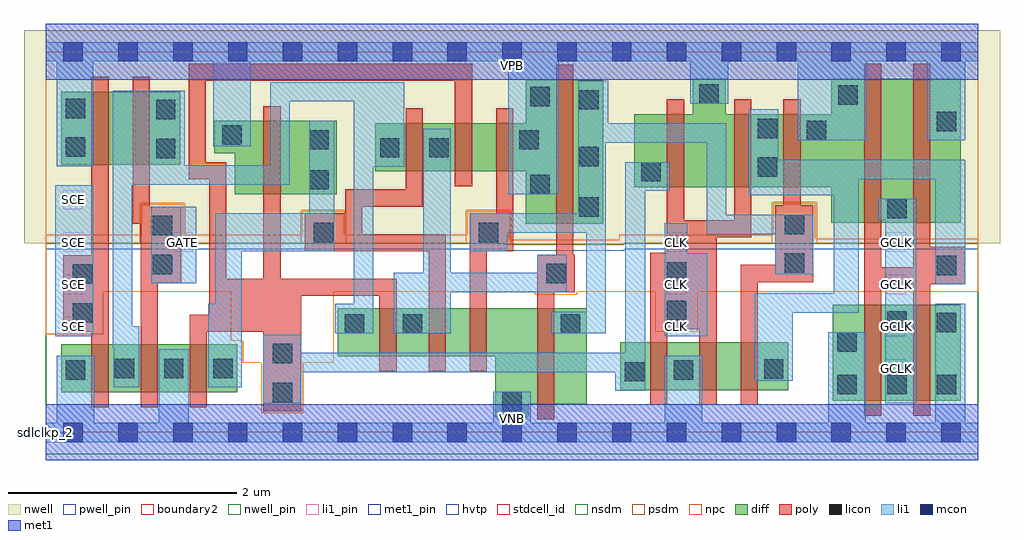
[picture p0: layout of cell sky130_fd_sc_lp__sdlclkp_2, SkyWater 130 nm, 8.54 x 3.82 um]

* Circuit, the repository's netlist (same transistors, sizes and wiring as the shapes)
* Copyright 2020 The SkyWater PDK Authors
*
* Licensed under the Apache License, Version 2.0 (the "License");
* you may not use this file except in compliance with the License.
* You may obtain a copy of the License at
*
*     https://www.apache.org/licenses/LICENSE-2.0
*
* Unless required by applicable law or agreed to in writing, software
* distributed under the License is distributed on an "AS IS" BASIS,
* WITHOUT WARRANTIES OR CONDITIONS OF ANY KIND, either express or implied.
* See the License for the specific language governing permissions and
* limitations under the License.
*
* SPDX-License-Identifier: Apache-2.0

.SUBCKT sky130_fd_sc_lp__sdlclkp_2 CLK GATE SCE VGND VNB VPB VPWR GCLK
*.PININFO CLK:I GATE:I SCE:I VGND:I VNB:I VPB:I VPWR:I GCLK:O
MI662 net88 m1 VPWR VPB sky130_fd_pr__pfet_01v8_hvt m=1 w=0.42U l=0.15U mult=1
+ sa=0.265 sb=0.265 sd=0.28 area=0.063 perim=1.14
MI664 M0 clkpos net88 VPB sky130_fd_pr__pfet_01v8_hvt m=1 w=0.42U l=0.15U mult=1
+ sa=0.265 sb=0.265 sd=0.28 area=0.063 perim=1.14
MI659 net76 CLK VPWR VPB sky130_fd_pr__pfet_01v8_hvt m=1 w=0.64U l=0.15U mult=1
+ sa=0.265 sb=0.265 sd=0.28 area=0.063 perim=1.14
MI658 net76 m1 VPWR VPB sky130_fd_pr__pfet_01v8_hvt m=1 w=0.64U l=0.15U mult=1
+ sa=0.265 sb=0.265 sd=0.28 area=0.063 perim=1.14
MI19 m1 M0 VPWR VPB sky130_fd_pr__pfet_01v8_hvt m=1 w=1.26U l=0.15U mult=1 sa=0.265
+ sb=0.265 sd=0.28 area=0.063 perim=1.14
MI22 net68 SCE VPWR VPB sky130_fd_pr__pfet_01v8_hvt m=1 w=0.64U l=0.15U mult=1
+ sa=0.265 sb=0.265 sd=0.28 area=0.063 perim=1.14
MI21 net116 GATE net68 VPB sky130_fd_pr__pfet_01v8_hvt m=1 w=0.64U l=0.15U mult=1
+ sa=0.265 sb=0.265 sd=0.28 area=0.063 perim=1.14
MI47 clkneg clkpos VPWR VPB sky130_fd_pr__pfet_01v8_hvt m=1 w=0.64U l=0.15U mult=1
+ sa=0.265 sb=0.265 sd=0.28 area=0.063 perim=1.14
MI45 clkpos CLK VPWR VPB sky130_fd_pr__pfet_01v8_hvt m=1 w=0.64U l=0.15U mult=1
+ sa=0.265 sb=0.265 sd=0.28 area=0.063 perim=1.14
MI660 GCLK net76 VPWR VPB sky130_fd_pr__pfet_01v8_hvt m=2 w=1.26U l=0.15U mult=1
+ sa=0.265 sb=0.265 sd=0.28 area=0.063 perim=1.14
MI43 net116 clkneg M0 VPB sky130_fd_pr__pfet_01v8_hvt m=1 w=0.42U l=0.15U mult=1
+ sa=0.265 sb=0.265 sd=0.28 area=0.063 perim=1.14
MI42 net116 clkpos M0 VNB sky130_fd_pr__nfet_01v8 m=1 w=0.42U l=0.15U mult=1 sa=0.265
+ sb=0.265 sd=0.28 area=0.063 perim=1.14
MI20 m1 M0 VGND VNB sky130_fd_pr__nfet_01v8 m=1 w=0.84U l=0.15U mult=1 sa=0.265
+ sb=0.265 sd=0.28 area=0.063 perim=1.14
MI655 M0 clkneg net123 VNB sky130_fd_pr__nfet_01v8 m=1 w=0.42U l=0.15U mult=1 sa=0.265
+ sb=0.265 sd=0.28 area=0.063 perim=1.14
MI654 net123 m1 VGND VNB sky130_fd_pr__nfet_01v8 m=1 w=0.42U l=0.15U mult=1 sa=0.265
+ sb=0.265 sd=0.28 area=0.063 perim=1.14
MI24 net116 SCE VGND VNB sky130_fd_pr__nfet_01v8 m=1 w=0.42U l=0.15U mult=1 sa=0.265
+ sb=0.265 sd=0.28 area=0.063 perim=1.14
MI657 net112 CLK VGND VNB sky130_fd_pr__nfet_01v8 m=1 w=0.42U l=0.15U mult=1 sa=0.265
+ sb=0.265 sd=0.28 area=0.063 perim=1.14
MI656 net76 m1 net112 VNB sky130_fd_pr__nfet_01v8 m=1 w=0.42U l=0.15U mult=1 sa=0.265
+ sb=0.265 sd=0.28 area=0.063 perim=1.14
MI23 net116 GATE VGND VNB sky130_fd_pr__nfet_01v8 m=1 w=0.42U l=0.15U mult=1 sa=0.265
+ sb=0.265 sd=0.28 area=0.063 perim=1.14
MI46 clkneg clkpos VGND VNB sky130_fd_pr__nfet_01v8 m=1 w=0.42U l=0.15U mult=1
+ sa=0.265 sb=0.265 sd=0.28 area=0.063 perim=1.14
MI44 clkpos CLK VGND VNB sky130_fd_pr__nfet_01v8 m=1 w=0.42U l=0.15U mult=1 sa=0.265
+ sb=0.265 sd=0.28 area=0.063 perim=1.14
MI653 GCLK net76 VGND VNB sky130_fd_pr__nfet_01v8 m=2 w=0.84U l=0.15U mult=1 sa=0.265
+ sb=0.265 sd=0.28 area=0.063 perim=1.14
.ENDS sky130_fd_sc_lp__sdlclkp_2

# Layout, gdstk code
import gdstk
lib = gdstk.Library(unit=1e-6, precision=1e-09)
def R(c, l, rs):  # rectangles x0, y0, x1, y1
    for r in rs: c.add(gdstk.rectangle(r[:2], r[2:], *l))
def A(c, l, x, y, w, h, nx, ny, dx, dy):  # array of equal rectangles
    R(c, l, [(x+i*dx, y+j*dy, x+i*dx+w, y+j*dy+h) for i in range(nx) for j in range(ny)])
def P(c, l, *ps):  # polygons
    for p in ps: c.add(gdstk.Polygon(p, *l))
nwell_pin = (64, 16)
nwell = (64, 20)
diff = (65, 20)
poly = (66, 20)
licon = (66, 44)
li1_pin = (67, 16)
li1 = (67, 20)
mcon = (67, 44)
met1_pin = (68, 16)
met1 = (68, 20)
hvtp = (78, 44)
stdcell_id = (81, 4)
nsdm = (93, 44)
psdm = (94, 20)
npc = (95, 20)
pwell_pin = (122, 16)
boundary2 = (236, 0)

sky130_fd_sc_lp__sdlclkp = lib.new_cell('sky130_fd_sc_lp__sdlclkp_2')
R(sky130_fd_sc_lp__sdlclkp, nwell_pin, [(0,3.085,8.16,3.33)])
P(sky130_fd_sc_lp__sdlclkp, nwell, [(8.35,3.52),(-0.19,3.52),(-0.19,1.655),(4.02,1.655),(4.02,1.645),(5.06,1.645),(5.06,1.655),(8.35,1.655)])
R(sky130_fd_sc_lp__sdlclkp, diff, [(6.885,0.275,8.005,1.115), (0.135,0.35,1.675,0.77), (5.025,0.37,6.495,0.79), (0.135,2.34,1.175,2.98)])
P(sky130_fd_sc_lp__sdlclkp, diff, [(2.545,2.725),(1.475,2.725),(1.475,2.44),(1.655,2.44),(1.655,2.085),(2.545,2.085)],
  [(4.735,1.085),(2.555,1.085),(2.555,0.665),(3.935,0.665),(3.935,0.135),(4.225,0.135),(4.225,0.245),(4.735,0.245)],
  [(4.88,3.085),(4.2,3.085),(4.2,2.705),(2.885,2.705),(2.885,2.285),(4.2,2.285),(4.2,1.825),(4.88,1.825)],
  [(8.005,3.095),(6.875,3.095),(6.875,2.785),(5.95,2.785),(5.95,3.095),(5.66,3.095),(5.66,2.785),(5.15,2.785),(5.15,2.145),(6.875,2.145),(6.875,1.835),(8.005,1.835)])
P(sky130_fd_sc_lp__sdlclkp, poly, [(0.55,3.11),(0.4,3.11),(0.4,1.55),(0.155,1.55),(0.155,0.88),(0.4,0.88),(0.4,0.22),(0.55,0.22)],
  [(1.185,1.975),(0.91,1.975),(0.91,3.11),(0.76,3.11),(0.76,1.825),(0.83,1.825),(0.83,0.22),(0.98,0.22),(0.98,1.305),(1.185,1.305)],
  [(3.5,1.735),(2.77,1.735),(2.77,1.975),(3.3,1.975),(3.3,2.835),(3.15,2.835),(3.15,2.125),(2.62,2.125),(2.62,1.915),(2.265,1.915),(2.265,1.585),(3.35,1.585),(3.35,0.535),(3.5,0.535)],
  [(3.73,3.225),(1.25,3.225),(1.25,2.215),(1.43,2.215),(1.43,1.03),(1.26,1.03),(1.26,0.22),(1.41,0.22),(1.41,0.88),(1.905,0.88),(1.905,0.185),(2.235,0.185),(2.235,1.195),(2.92,1.195),(2.92,0.535),(3.07,0.535),(3.07,1.345),(2.055,1.345),(2.055,2.855),(1.905,2.855),(1.905,1.345),(1.58,1.345),(1.58,2.365),(1.4,2.365),(1.4,3.075),(3.58,3.075),(3.58,2.155),(3.73,2.155)],
  [(4.09,2.835),(3.94,2.835),(3.94,1.915),(3.71,1.915),(3.71,0.535),(3.86,0.535),(3.86,1.585),(4.09,1.585)],
  [(4.63,1.555),(4.615,1.555),(4.615,3.215),(4.465,3.215),(4.465,1.555),(4.3,1.555),(4.3,0.115),(4.45,0.115),(4.45,1.225),(4.63,1.225)],
  [(6.175,2.915),(6.025,2.915),(6.025,1.855),(5.585,1.855),(5.585,2.915),(5.435,2.915),(5.435,1.57),(5.29,1.57),(5.29,0.24),(5.44,0.24),(5.44,0.9),(5.72,0.9),(5.72,0.24),(5.87,0.24),(5.87,1.705),(6.175,1.705)],
  [(6.715,1.985),(6.605,1.985),(6.605,2.915),(6.455,2.915),(6.455,1.985),(6.385,1.985),(6.385,1.465),(6.08,1.465),(6.08,0.24),(6.23,0.24),(6.23,1.315),(6.715,1.315)],
  [(8.045,1.625),(7.74,1.625),(7.74,3.225),(7.59,3.225),(7.59,1.445),(7.31,1.445),(7.31,3.225),(7.16,3.225),(7.16,0.145),(7.31,0.145),(7.31,1.295),(7.59,1.295),(7.59,0.145),(7.74,0.145),(7.74,1.295),(8.045,1.295)])
A(sky130_fd_sc_lp__sdlclkp, licon, 0.605, 0.475, 0.17, 0.17, 3, 1, 0.43, 0)
R(sky130_fd_sc_lp__sdlclkp, licon, [(3.995,0.185,4.165,0.355), (1.985,0.265,2.155,0.435), (6.925,0.335,7.095,0.505), (7.365,0.335,7.535,0.505), (7.795,0.335,7.965,0.505), (5.065,0.445,5.235,0.615), (0.175,0.46,0.345,0.63), (5.495,0.46,5.665,0.63), (6.285,0.47,6.455,0.64), (1.985,0.605,2.155,0.775), (6.925,0.705,7.095,0.875), (2.615,0.865,2.785,1.035), (3.125,0.865,3.295,1.035), (4.505,0.865,4.675,1.035), (7.795,0.875,7.965,1.045), (7.365,0.89,7.535,1.06), (0.235,0.96,0.405,1.13), (5.435,0.98,5.605,1.15), (0.235,1.3,0.405,1.47), (4.38,1.305,4.55,1.475), (5.435,1.32,5.605,1.49), (7.795,1.375,7.965,1.545), (0.935,1.385,1.105,1.555), (6.465,1.395,6.635,1.565), (2.345,1.665,2.515,1.835), (3.79,1.665,3.96,1.835), (0.935,1.725,1.105,1.895), (6.465,1.735,6.635,1.905), (7.365,1.875,7.535,2.045), (4.67,1.885,4.84,2.055), (4.24,2.085,4.41,2.255), (2.305,2.125,2.475,2.295), (5.21,2.195,5.38,2.365), (6.23,2.235,6.4,2.405), (4.67,2.33,4.84,2.5), (0.965,2.4,1.135,2.57), (2.925,2.405,3.095,2.575), (3.355,2.405,3.525,2.575), (0.175,2.41,0.345,2.58), (2.305,2.475,2.475,2.645), (4.145,2.475,4.315,2.645), (1.545,2.515,1.715,2.685), (6.66,2.555,6.83,2.725), (6.23,2.575,6.4,2.745), (7.795,2.635,7.965,2.805), (0.965,2.74,1.135,2.91), (0.175,2.75,0.345,2.92), (4.67,2.825,4.84,2.995), (4.24,2.855,4.41,3.025), (6.935,2.865,7.105,3.035), (5.72,2.875,5.89,3.045)])
A(sky130_fd_sc_lp__sdlclkp, li1_pin, 7.355, 0.47, 0.17, 0.17, 1, 4, 0, 0.37)
A(sky130_fd_sc_lp__sdlclkp, li1_pin, 0.155, 0.84, 0.17, 0.17, 1, 4, 0, 0.37)
A(sky130_fd_sc_lp__sdlclkp, li1_pin, 5.435, 0.84, 0.17, 0.17, 1, 3, 0, 0.37)
R(sky130_fd_sc_lp__sdlclkp, li1_pin, [(1.115,1.58,1.285,1.75)])
R(sky130_fd_sc_lp__sdlclkp, li1, [(0.085,0.84,0.415,2.16), (0.925,1.305,1.315,1.975)])
P(sky130_fd_sc_lp__sdlclkp, li1, [(0.095,2.33),(0.095,3.245),(0,3.245),(0,3.415),(8.16,3.415),(8.16,3.245),(8.045,3.245),(8.045,2.555),(7.715,2.555),(7.715,3.245),(7.185,3.245),(7.185,2.555),(6.58,2.555),(6.58,3.245),(5.97,3.245),(5.97,2.875),(5.64,2.875),(5.64,3.245),(4.49,3.245),(4.49,2.085),(4.045,2.085),(4.045,3.245),(1.795,3.245),(1.795,2.505),(1.465,2.505),(1.465,3.245),(0.415,3.245),(0.415,2.33)],
  [(0.99,0.085),(0.99,0.725),(1.25,0.725),(1.25,0.085),(3.915,0.085),(3.915,0.355),(4.245,0.355),(4.245,0.085),(5.415,0.085),(5.415,0.67),(5.745,0.67),(5.745,0.085),(6.845,0.085),(6.845,0.875),(7.175,0.875),(7.175,0.085),(7.785,0.085),(7.785,1.125),(8.045,1.125),(8.045,0.085),(8.16,0.085),(8.16,-0.085),(0,-0.085),(0,0.085),(0.095,0.085),(0.095,0.67),(0.425,0.67),(0.425,0.085)],
  [(7.345,0.255),(7.345,1.855),(7.285,1.855),(7.285,2.045),(7.615,2.045),(7.615,0.255)],
  [(4.92,2.705),(5.955,2.705),(5.955,1.905),(6.715,1.905),(6.715,1.385),(6.385,1.385),(6.385,1.735),(5.785,1.735),(5.785,2.535),(4.9,2.535),(4.9,0.865),(4.425,0.865),(4.425,1.055),(4.73,1.055),(4.73,1.745),(4.04,1.745),(4.04,1.585),(3.715,1.585),(3.715,1.915),(4.66,1.915),(4.66,3.075),(4.92,3.075)],
  [(8.045,2.385),(6.41,2.385),(6.41,2.825),(6.15,2.825),(6.15,2.075),(6.895,2.075),(6.895,1.215),(6.205,1.215),(6.205,0.45),(6.535,0.45),(6.535,1.045),(7.115,1.045),(7.115,2.215),(7.785,2.215),(7.785,1.295),(8.045,1.295)],
  [(5.07,0.695),(5.07,2.365),(5.46,2.365),(5.46,2.115),(5.245,2.115),(5.245,0.365),(4.985,0.365),(4.985,0.525),(2.235,0.525),(2.235,0.255),(1.905,0.255),(1.905,0.855),(2.235,0.855),(2.235,0.695)],
  [(3.305,1.395),(3.305,2.655),(3.545,2.655),(3.545,1.395),(4.3,1.395),(4.3,1.555),(4.56,1.555),(4.56,1.225),(3.545,1.225),(3.545,0.865),(3.045,0.865),(3.045,1.395)],
  [(2.305,1.915),(2.305,2.725),(2.525,2.725),(2.525,1.585),(1.715,1.585),(1.715,0.395),(1.42,0.395),(1.42,1.125),(1.485,1.125),(1.485,1.915)],
  [(3.135,3.065),(1.965,3.065),(1.965,2.335),(1.215,2.335),(1.215,2.99),(0.585,2.99),(0.585,0.74),(0.595,0.74),(0.595,0.395),(0.82,0.395),(0.82,0.93),(0.755,0.93),(0.755,2.165),(2.135,2.165),(2.135,2.895),(2.695,2.895),(2.695,1.125),(2.535,1.125),(2.535,0.865),(2.865,0.865),(2.865,2.325),(3.135,2.325)],
  [(5.79,1.565),(5.615,1.565),(5.615,1.83),(5.415,1.83),(5.415,0.84),(5.79,0.84)])
A(sky130_fd_sc_lp__sdlclkp, mcon, 0.155, -0.085, 0.17, 0.17, 17, 2, 0.48, 3.33)
R(sky130_fd_sc_lp__sdlclkp, met1_pin, [(0,0,8.16,0.245), (0,3.085,8.16,3.33)])
R(sky130_fd_sc_lp__sdlclkp, met1, [(0,-0.245,8.16,0.245), (0,3.085,8.16,3.575)])
P(sky130_fd_sc_lp__sdlclkp, hvtp, [(8.16,3.33),(0,3.33),(0,1.6),(4.02,1.6),(4.02,1.59),(5.06,1.59),(5.06,1.6),(8.16,1.6)])
R(sky130_fd_sc_lp__sdlclkp, stdcell_id, [(0,0,8.16,3.33)])
P(sky130_fd_sc_lp__sdlclkp, nsdm, [(8.16,1.655),(5.06,1.655),(5.06,1.645),(4.02,1.645),(4.02,1.655),(0,1.655),(0,-0.19),(8.16,-0.19)])
P(sky130_fd_sc_lp__sdlclkp, psdm, [(8.16,3.52),(0,3.52),(0,1.655),(0.825,1.655),(0.825,2.005),(1.215,2.005),(1.215,1.655),(2.235,1.655),(2.235,1.945),(2.625,1.945),(2.625,1.655),(3.68,1.655),(3.68,1.945),(4.07,1.945),(4.07,1.645),(5.06,1.645),(5.06,1.655),(6.355,1.655),(6.355,2.015),(6.745,2.015),(6.745,1.655),(8.16,1.655)])
P(sky130_fd_sc_lp__sdlclkp, npc, [(8.16,1.695),(6.735,1.695),(6.735,2.005),(6.365,2.005),(6.365,1.73),(5.02,1.73),(5.02,1.685),(4.06,1.685),(4.06,1.935),(3.69,1.935),(3.69,1.73),(2.615,1.73),(2.615,1.935),(2.245,1.935),(2.245,1.73),(1.205,1.73),(1.205,1.995),(0.835,1.995),(0.835,1.73),(0,1.73),(0,0.86),(0.505,0.86),(0.505,1.23),(1.62,1.23),(1.62,0.8),(1.725,0.8),(1.725,0.61),(1.885,0.61),(1.885,0.165),(2.255,0.165),(2.255,0.61),(2.52,0.61),(2.52,1.23),(4.28,1.23),(4.28,1.205),(4.65,1.205),(4.65,1.23),(5.335,1.23),(5.335,0.88),(5.705,0.88),(5.705,1.23),(8.16,1.23)])
R(sky130_fd_sc_lp__sdlclkp, pwell_pin, [(0,0,8.16,0.245)])
R(sky130_fd_sc_lp__sdlclkp, boundary2, [(0,0,8.16,3.33)])
sky130_fd_sc_lp__sdlclkp.add(gdstk.Label('VNB', (4.08,0.123), layer=64, texttype=59))
sky130_fd_sc_lp__sdlclkp.add(gdstk.Label('VPB', (4.08,3.208), layer=64, texttype=5))
sky130_fd_sc_lp__sdlclkp.add(gdstk.Label('sdlclkp_2', (0,0), layer=83, texttype=44))
sky130_fd_sc_lp__sdlclkp.add(gdstk.Label('VPWR', (4.08,3.208), layer=68, texttype=5))
sky130_fd_sc_lp__sdlclkp.add(gdstk.Label('VGND', (4.08,0.123), layer=68, texttype=5))
sky130_fd_sc_lp__sdlclkp.add(gdstk.Label('CLK', (5.52,0.925), layer=67, texttype=5))
sky130_fd_sc_lp__sdlclkp.add(gdstk.Label('CLK', (5.52,1.295), layer=67, texttype=5))
sky130_fd_sc_lp__sdlclkp.add(gdstk.Label('CLK', (5.52,1.665), layer=67, texttype=5))
sky130_fd_sc_lp__sdlclkp.add(gdstk.Label('GATE', (1.2,1.665), layer=67, texttype=5))
sky130_fd_sc_lp__sdlclkp.add(gdstk.Label('SCE', (0.24,0.925), layer=67, texttype=5))
sky130_fd_sc_lp__sdlclkp.add(gdstk.Label('SCE', (0.24,1.295), layer=67, texttype=5))
sky130_fd_sc_lp__sdlclkp.add(gdstk.Label('SCE', (0.24,1.665), layer=67, texttype=5))
sky130_fd_sc_lp__sdlclkp.add(gdstk.Label('SCE', (0.24,2.035), layer=67, texttype=5))
sky130_fd_sc_lp__sdlclkp.add(gdstk.Label('GCLK', (7.44,0.555), layer=67, texttype=5))
sky130_fd_sc_lp__sdlclkp.add(gdstk.Label('GCLK', (7.44,0.925), layer=67, texttype=5))
sky130_fd_sc_lp__sdlclkp.add(gdstk.Label('GCLK', (7.44,1.295), layer=67, texttype=5))
sky130_fd_sc_lp__sdlclkp.add(gdstk.Label('GCLK', (7.44,1.665), layer=67, texttype=5))

lib.write_gds('sky130_fd_sc_lp__sdlclkp_2.gds')
